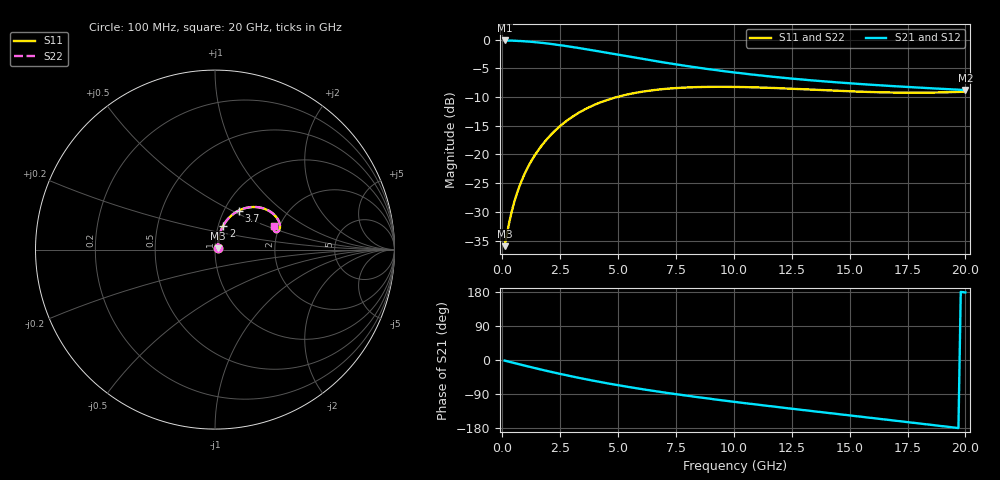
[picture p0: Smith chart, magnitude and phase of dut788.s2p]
! Touchstone file exported from HFSS 2024.1.0
!  File:  C:/UserFiles/LocalFiles/RDL_TSV_Batchsim/temp_RDL_TSV_788_1779907275.aedt
!  Generated:  02:59:15 AM May 28, 2026
!  Design:  RDL_TSV
!  Project:  temp_RDL_TSV_788_1779907275
!  Setup:  Setup1
!  Solution:  Sweep
! Variables:
!  dtsv = 5.38um
!  hbump = 3um
!  htsv = 92.5um
!  ldown = 189.95um
!  lrdl = 454.02um
!  p = 40
!  p1 = 57.02um
!  rhole = 10um
!  subl = 2385.93um
!  t = 450um
!  tdown = 4.65um
!  trdl = 4.94um
!  viad = 10um
!  wdown = 10.16um
!  wrdl = 17.13um
!  xbump = 18um
# GHz S MA R 50.000000
! Terminal data exported
! Port[1] = TM1_1_T1
! Port[2] = TM1_4_T1
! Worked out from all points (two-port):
!   200 points, 100 MHz to 20 GHz, reference 50 ohm
!   highest |S21| = -0.13 dB at 100 MHz (marker M1); lowest = -8.8 dB at 20 GHz (marker M2)
!   |S21| within 3 dB of the highest: start of sweep to 5.736 GHz
!   lowest |S11| = -36.0 dB at 100 MHz (marker M3), VSWR 1.03, Z = 51.4 + j0.721 ohm
!   |S11| at or under -10 dB: start of sweep to 4.942 GHz
!   |S22| runs from -36.0 to -8.2 dB; largest |S21 - S12| = 9.7e-15
!   S11 on the Smith chart (normalised r, x): 100 MHz: 1.03, +0.01; 2 GHz: 1.06, +0.29; 3.7 GHz: 1.17, +0.54; 20 GHz: 1.87, +0.55
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0.1  0.01587 26.2  0.9856 -1.6  0.9856 -1.6  0.01587 26.2
! Gamma 0 0 0 0
! Port Impedance 50 0 50 0
0.3  0.02555 53.2  0.9837 -4.7  0.9837 -4.7  0.02555 53.2
0.4  0.03137 59.5  0.9823 -6.2  0.9823 -6.2  0.03137 59.5
0.6  0.04373 66.6  0.9786 -9.3  0.9786 -9.3  0.04373 66.6
0.8  0.05672 70.1  0.9739 -12.3  0.9739 -12.3  0.05672 70.1
1  0.07016 72.0  0.968 -15.3  0.968 -15.3  0.07016 72.0
1.3  0.09095 72.9  0.9573 -19.8  0.9573 -19.8  0.09095 72.9
1.6  0.1123 72.6  0.9444 -24.2  0.9444 -24.2  0.1123 72.6
2  0.1412 71.1  0.9245 -29.9  0.9245 -29.9  0.1411 71.1
2.7  0.191 66.6  0.8845 -39.4  0.8845 -39.4  0.191 66.6
3.5  0.2432 60.2  0.8344 -49.5  0.8344 -49.5  0.2432 60.2
3.7  0.2551 58.6  0.8216 -51.9  0.8216 -51.9  0.2551 58.6
4.4  0.2923 52.9  0.7772 -60.0  0.7772 -60.0  0.2923 52.9
5.1  0.3224 47.4  0.7344 -67.5  0.7344 -67.5  0.3225 47.4
5.9  0.3486 41.7  0.6887 -75.6  0.6887 -75.6  0.3487 41.8
6.8  0.3689 36.1  0.6423 -84.0  0.6423 -84.0  0.369 36.1
8.4  0.3865 28.0  0.573 -97.7  0.573 -97.7  0.3867 28.0
10.1  0.3879 21.8  0.5162 -111.0  0.5162 -111.0  0.388 21.9
11.7  0.3799 18.1  0.4753 -122.8  0.4753 -122.8  0.3801 18.1
13.4  0.3672 16.0  0.4418 -134.9  0.4418 -134.9  0.3674 16.0
16.7  0.3469 17.0  0.3961 -158.2  0.3961 -158.2  0.3471 17.0
20  0.3527 21.6  0.3641 178.3  0.3641 178.3  0.353 21.6
